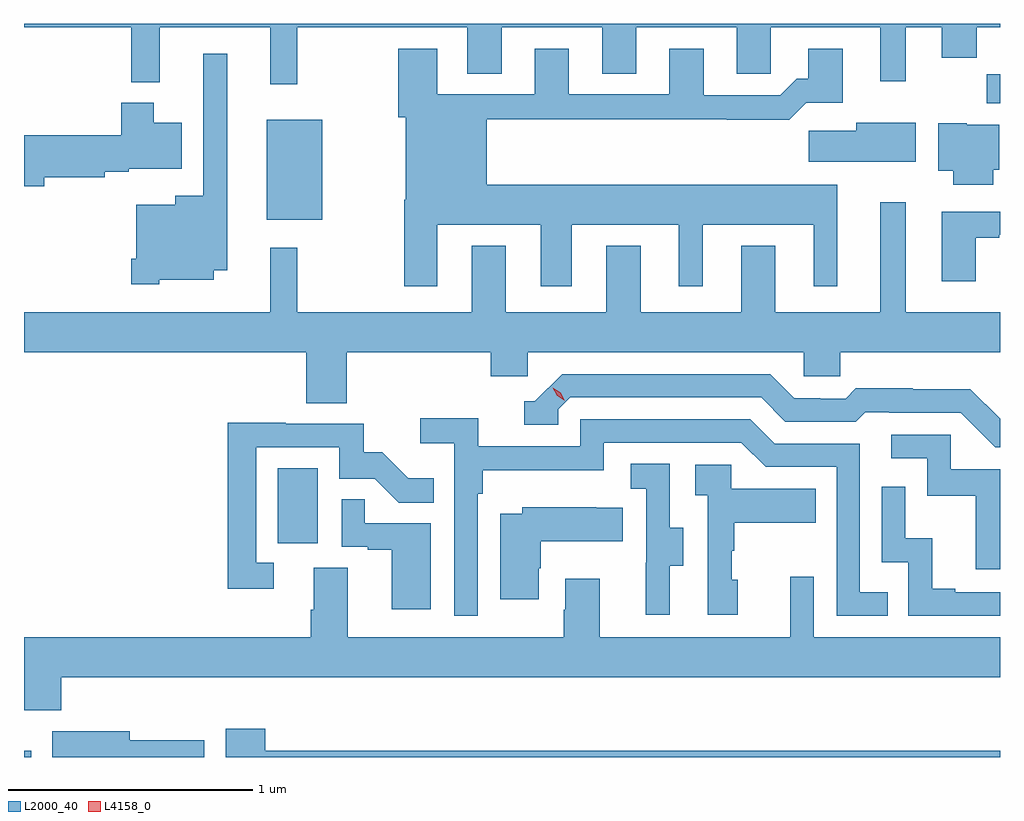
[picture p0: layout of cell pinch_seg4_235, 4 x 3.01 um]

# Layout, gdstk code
import gdstk
lib = gdstk.Library(unit=1e-6, precision=1e-09)
def R(c, l, rs):  # rectangles x0, y0, x1, y1
    for r in rs: c.add(gdstk.rectangle(r[:2], r[2:], *l))
def P(c, l, *ps):  # polygons
    for p in ps: c.add(gdstk.Polygon(p, *l))
L2000_40 = (2000, 40)
L4158_0 = (4158, 0)

pinch_seg4_235 = lib.new_cell('pinch_seg4_235')
R(pinch_seg4_235, L2000_40, [(900.21,829.792,900.24,829.819), (901.25,830.67,901.414,830.977), (901.205,831.995,901.432,832.405), (904.156,832.472,904.21,832.591)])
P(pinch_seg4_235, L2000_40, [(901.33,832.784),(902.027,832.784),(902.027,832.594),(902.167,832.594),(902.167,832.784),(902.579,832.784),(902.579,832.594),(902.719,832.594),(902.719,832.784),(903.131,832.784),(903.131,832.594),(903.27,832.594),(903.27,832.784),(903.719,832.784),(903.719,832.563),(903.823,832.563),(903.823,832.784),(903.971,832.784),(903.971,832.66),(904.115,832.66),(904.115,832.784),(904.21,832.784),(904.21,832.799),(900.21,832.799),(900.21,832.784),(900.649,832.784),(900.649,832.559),(900.767,832.559),(900.767,832.784),(901.22,832.784),(901.22,832.551),(901.33,832.551)],
  [(901.903,831.974),(902.327,831.974),(902.327,831.723),(902.455,831.723),(902.455,831.974),(902.894,831.974),(902.894,831.723),(902.992,831.723),(902.992,831.974),(903.446,831.974),(903.446,831.723),(903.544,831.723),(903.544,832.138),(902.107,832.138),(902.107,832.408),(903.091,832.408),(903.091,832.406),(903.347,832.406),(903.416,832.475),(903.565,832.475),(903.565,832.696),(903.425,832.696),(903.425,832.573),(903.376,832.573),(903.309,832.506),(902.995,832.506),(902.995,832.696),(902.855,832.696),(902.855,832.509),(902.443,832.509),(902.443,832.696),(902.303,832.696),(902.303,832.509),(901.903,832.509),(901.903,832.696),(901.744,832.696),(901.744,832.416),(901.775,832.416),(901.775,832.078),(901.768,832.078),(901.768,831.723),(901.903,831.723)],
  [(900.765,831.749),(900.988,831.749),(900.988,831.788),(901.042,831.788),(901.042,832.675),(900.945,832.675),(900.945,832.093),(900.83,832.093),(900.83,832.057),(900.671,832.057),(900.671,831.835),(900.65,831.835),(900.65,831.731),(900.765,831.731)],
  [(900.292,832.169),(900.54,832.169),(900.54,832.193),(900.64,832.193),(900.64,832.205),(900.856,832.205),(900.856,832.393),(900.742,832.393),(900.742,832.474),(900.608,832.474),(900.608,832.341),(900.21,832.341),(900.21,832.132),(900.292,832.132)],
  [(903.865,832.393),(903.62,832.393),(903.62,832.361),(903.426,832.361),(903.426,832.232),(903.865,832.232)],
  [(904.183,832.2),(904.207,832.2),(904.207,832.384),(904.074,832.384),(904.074,832.39),(903.956,832.39),(903.956,832.196),(904.018,832.196),(904.018,832.139),(904.183,832.139)],
  [(901.532,831.452),(902.123,831.452),(902.123,831.354),(902.274,831.354),(902.274,831.452),(903.405,831.452),(903.405,831.354),(903.555,831.354),(903.555,831.452),(904.21,831.452),(904.21,831.616),(903.823,831.616),(903.823,832.066),(903.719,832.066),(903.719,831.616),(903.289,831.616),(903.289,831.889),(903.149,831.889),(903.149,831.616),(902.737,831.616),(902.737,831.889),(902.597,831.889),(902.597,831.616),(902.185,831.616),(902.185,831.889),(902.045,831.889),(902.045,831.616),(901.33,831.616),(901.33,831.88),(901.219,831.88),(901.219,831.616),(900.21,831.616),(900.21,831.452),(901.367,831.452),(901.367,831.244),(901.532,831.244)],
  [(904.111,831.921),(904.207,831.921),(904.207,831.933),(904.21,831.933),(904.21,832.029),(903.971,832.029),(903.971,831.744),(904.111,831.744)],
  [(904.21,831.179),(904.088,831.301),(903.852,831.301),(903.852,831.304),(903.619,831.304),(903.577,831.261),(903.474,831.261),(903.474,831.264),(903.367,831.264),(903.268,831.363),(902.415,831.363),(902.304,831.252),(902.261,831.252),(902.261,831.156),(902.4,831.156),(902.4,831.219),(902.448,831.267),(903.231,831.267),(903.33,831.168),(903.619,831.168),(903.658,831.207),(903.757,831.207),(903.757,831.204),(904.05,831.204),(904.191,831.063),(904.21,831.063)],
  [(902.07,830.873),(902.09,830.873),(902.09,830.969),(902.586,830.969),(902.586,831.081),(903.15,831.081),(903.249,830.982),(903.54,830.982),(903.54,830.373),(903.749,830.373),(903.749,830.469),(903.636,830.469),(903.636,831.078),(903.286,831.078),(903.187,831.177),(902.49,831.177),(902.49,831.066),(902.072,831.066),(902.072,831.182),(901.833,831.182),(901.833,831.08),(901.974,831.08),(901.974,830.373),(902.07,830.373)],
  [(901.234,830.589),(901.161,830.589),(901.161,831.063),(901.503,831.063),(901.503,830.934),(901.647,830.934),(901.745,830.836),(901.889,830.836),(901.889,830.935),(901.785,830.935),(901.678,831.042),(901.602,831.042),(901.602,831.159),(901.283,831.159),(901.283,831.164),(901.045,831.164),(901.045,830.484),(901.234,830.484)],
  [(904.21,830.973),(904.008,830.973),(904.008,831.114),(903.765,831.114),(903.765,831.018),(903.912,831.018),(903.912,830.865),(904.111,830.865),(904.111,830.562),(904.21,830.562)],
  [(902.857,830.578),(902.911,830.578),(902.911,830.733),(902.856,830.733),(902.856,830.996),(902.697,830.996),(902.697,830.893),(902.76,830.893),(902.76,830.589),(902.759,830.589),(902.759,830.376),(902.857,830.376)],
  [(903.136,830.52),(903.111,830.52),(903.111,830.639),(903.121,830.639),(903.121,830.753),(903.455,830.753),(903.455,830.893),(903.108,830.893),(903.108,830.991),(902.961,830.991),(902.961,830.867),(903.012,830.867),(903.012,830.376),(903.136,830.376)],
  [(904.21,830.469),(904.027,830.469),(904.027,830.482),(903.932,830.482),(903.932,830.69),(903.822,830.69),(903.822,830.902),(903.726,830.902),(903.726,830.592),(903.834,830.592),(903.834,830.373),(904.21,830.373)],
  [(901.876,830.751),(901.607,830.751),(901.607,830.849),(901.512,830.849),(901.512,830.655),(901.619,830.655),(901.619,830.643),(901.718,830.643),(901.718,830.4),(901.876,830.4)],
  [(902.32,830.567),(902.328,830.567),(902.328,830.678),(902.663,830.678),(902.663,830.815),(902.555,830.815),(902.555,830.818),(902.253,830.818),(902.253,830.791),(902.162,830.791),(902.162,830.439),(902.32,830.439)],
  [(900.362,830.12),(904.21,830.12),(904.21,830.284),(903.447,830.284),(903.447,830.533),(903.35,830.533),(903.35,830.284),(902.569,830.284),(902.569,830.524),(902.429,830.524),(902.429,830.396),(902.422,830.396),(902.422,830.284),(901.537,830.284),(901.537,830.57),(901.397,830.57),(901.397,830.396),(901.385,830.396),(901.385,830.284),(900.21,830.284),(900.21,829.985),(900.362,829.985)],
  [(904.21,829.819),(901.198,829.819),(901.198,829.909),(901.037,829.909),(901.037,829.792),(904.21,829.792)],
  [(900.948,829.862),(900.643,829.862),(900.643,829.9),(900.325,829.9),(900.325,829.792),(900.948,829.792)])
P(pinch_seg4_235, L4158_0, [(902.426,831.254),(902.395,831.274),(902.378,831.306),(902.378,831.307),(902.378,831.307),(902.409,831.287),(902.426,831.254),(902.426,831.254)])

lib.write_gds('pinch_seg4_235.gds')
